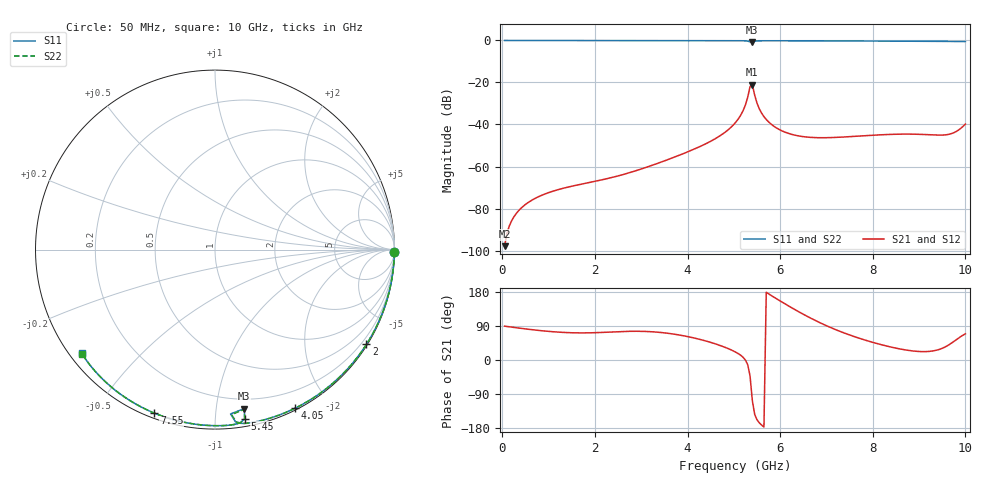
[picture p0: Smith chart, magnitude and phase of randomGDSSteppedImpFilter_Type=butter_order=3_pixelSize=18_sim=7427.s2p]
! freq	dB(S11)	phase(S11)	dB(S12)	phase(S12)
!  dB(S21)	phase(S21)	dB(S22)	phase(S22)
!S-par simulation data
#  GHz  S  DB  R 50
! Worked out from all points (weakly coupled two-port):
!   200 points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, 50 MHz to 10 GHz, reference 50 ohm
!   highest |S21| = -21.08 dB at 5.4 GHz (marker M1); lowest = -97.9 dB at 50 MHz (marker M2)
!   lowest |S11| = -0.9 dB at 5.4 GHz (marker M3), VSWR 19.15, Z = 6.35 - j59.7 ohm
!   |S11| at or under -10 dB: nowhere
!   |S22| runs from -0.9 to 0.0 dB; largest |S21 - S12| = 0
!   S11 on the Smith chart (normalised r, x): 50 MHz: open; 2 GHz: 0.03, -3.48; 4.05 GHz: 0.02, -1.63; 5.45 GHz: 0.05, -1.19; 7.55 GHz: 0.02, -0.70; 10 GHz: 0.03, -0.34
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0.05  -0.01 -0.8  -97.91 89.3  -97.91 89.3  -0.01 -0.8
0.4  -0.01 -6.5  -79.94 83.6  -79.94 83.6  -0.01 -6.5
0.9  -0.02 -14.6  -73.25 76.6  -73.25 76.6  -0.02 -14.5
1.75  -0.04 -28.1  -68.20 71.5  -68.20 71.5  -0.04 -28.1
2  -0.04 -32.0  -67.06 72.1  -67.06 72.1  -0.04 -32.0
3.4  -0.07 -53.5  -58.13 72.9  -58.13 72.9  -0.07 -53.4
4.05  -0.09 -63.1  -52.60 60.6  -52.60 60.6  -0.09 -63.0
4.65  -0.11 -71.9  -46.09 40.6  -46.09 40.6  -0.11 -71.8
5.05  -0.13 -77.9  -38.68 20.0  -38.68 20.0  -0.13 -77.8
5.2  -0.16 -80.6  -33.38 7.0  -33.38 7.0  -0.16 -80.4
5.3  -0.30 -83.2  -26.98 -12.6  -26.98 -12.6  -0.29 -83.0
5.35  -0.73 -84.6  -21.94 -42.3  -21.94 -42.3  -0.69 -84.3
5.4  -0.91 -79.5  -21.08 -107.6  -21.08 -107.6  -0.86 -79.6
5.45  -0.38 -80.0  -26.04 -143.5  -26.04 -143.5  -0.36 -80.1
5.6  -0.18 -83.7  -34.61 -171.8  -34.61 -171.8  -0.17 -83.6
5.85  -0.16 -87.6  -40.60 166.9  -40.60 166.9  -0.16 -87.5
6.25  -0.17 -93.2  -44.71 137.8  -44.71 137.8  -0.17 -93.1
6.7  -0.20 -99.3  -46.18 107.9  -46.18 107.9  -0.20 -99.1
7.55  -0.25 -110.3  -45.73 63.9  -45.73 63.9  -0.25 -110.2
8.35  -0.31 -120.6  -44.74 35.3  -44.74 35.3  -0.31 -120.4
9.6  -0.45 -136.7  -44.86 36.9  -44.86 36.9  -0.45 -136.4
10  -0.54 -142.2  -39.80 69.2  -39.80 69.2  -0.53 -142.0
